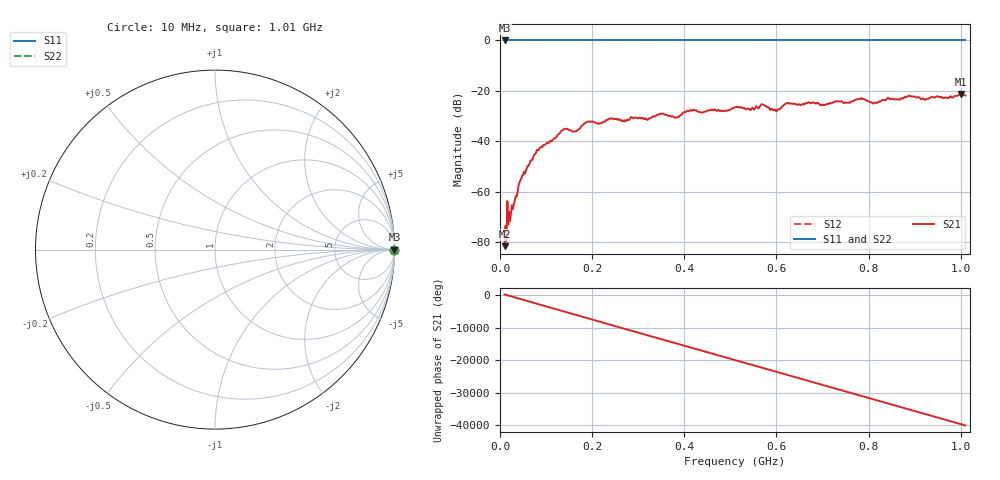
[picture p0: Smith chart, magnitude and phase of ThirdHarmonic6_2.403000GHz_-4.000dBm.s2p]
! 8/17/2025 3:58:34 AM
! C:\ANRITSUVNA\TEMP\TEMP.S2P
! CHANNEL.1
! TR.MEASUREMENT
! RAW.DATA
! RF.CORRECTION.OFF
! AVERAGING.OFF
! IF.BANDWIDTH: 5KHZ
! SWEEPTYPE:  FREQ.SWEEP(Linear)
! Reference Plane Port Info
! PORT:  PORT1  PORT2
! DISTANCE:  0  m  0  m
! TIME:  0  s  0  s
! PHASE.OFFSET:  0  deg.  0  deg.
! LOSS:  0  dB  0  dB
! REF.LOSS:  0  dB  0  dB
! REF.FREQ:  0  Hz  0  Hz
! Power Info
! POWER:  -20  dBm  -20  dBm
! EFF.POWER:  -20  dBm  -20  dBm
! SOURCE.ATTEN:  0  dB  0  dB
! TEST.ATTEN:  0  dB  0  dB
# GHZ S RI R 50.0
! FREQ.GHZ  S11RE  S11IM  S21RE  S21IM  S12RE  S12IM  S22RE  S22IM
!; PortSelection: Port_12
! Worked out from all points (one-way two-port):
!   501 points, 10 MHz to 1.01 GHz, reference 50 ohm
!   highest |S21| = -21.23 dB at 1 GHz (marker M1); lowest = -81.5 dB at 10 MHz (marker M2)
!   lowest |S11| = 0.0 dB at 10 MHz (marker M3)
!   |S11| at or under -10 dB: nowhere
!   |S22| runs from 0.0 to 0.0 dB; largest |S21 - S12| = 1.1
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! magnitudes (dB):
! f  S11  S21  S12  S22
! 10 MHz  0.0  -81.5  0.0  0.0
! 16 MHz  0.0  -63.7  0.0  0.0
! 26 MHz  0.0  -65.3  0.0  0.0
! 44 MHz  0.0  -55.5  0.0  0.0
! 78 MHz  0.0  -44.6  0.0  0.0
! 136 MHz  0.0  -35.6  0.0  0.0
! 162 MHz  0.0  -36.1  0.0  0.0
! 178 MHz  0.0  -33.7  0.0  0.0
! 344 MHz  0.0  -29.4  0.0  0.0
! 382 MHz  0.0  -30.5  0.0  0.0
! 416 MHz  0.0  -27.8  0.0  0.0
! 510 MHz  0.0  -26.5  0.0  0.0
! 548 MHz  0.0  -26.6  0.0  0.0
! 570 MHz  0.0  -25.3  0.0  0.0
! 598 MHz  0.0  -27.7  0.0  0.0
! 624 MHz  0.0  -24.8  0.0  0.0
! 678 MHz  0.0  -24.7  0.0  0.0
! 784 MHz  0.0  -22.8  0.0  0.0
! 814 MHz  0.0  -24.6  0.0  0.0
! 844 MHz  0.0  -23.0  0.0  0.0
! 1 GHz  0.0  -21.2  0.0  0.0
! 1.01 GHz  0.0  -21.8  0.0  0.0
